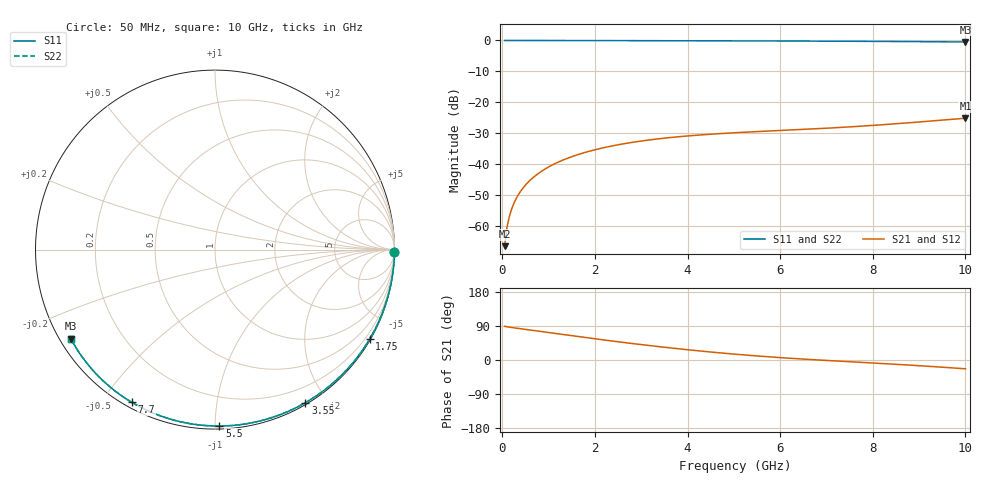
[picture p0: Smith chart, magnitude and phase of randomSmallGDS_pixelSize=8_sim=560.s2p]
! freq	dB(S11)	phase(S11)	dB(S12)	phase(S12)
!  dB(S21)	phase(S21)	dB(S22)	phase(S22)
!S-par simulation data
#  GHz  S  DB  R 50
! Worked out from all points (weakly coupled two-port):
!   200 points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, 50 MHz to 10 GHz, reference 50 ohm
!   highest |S21| = -25.19 dB at 10 GHz (marker M1); lowest = -66.6 dB at 50 MHz (marker M2)
!   lowest |S11| = -0.5 dB at 10 GHz (marker M3), VSWR 35.05, Z = 1.54 - j14.2 ohm
!   |S11| at or under -10 dB: nowhere
!   |S22| runs from -0.5 to 0.0 dB; largest |S21 - S12| = 0
!   S11 on the Smith chart (normalised r, x): 50 MHz: open; 1.75 GHz: 0.03, -3.71; 3.55 GHz: 0.02, -1.75; 5.5 GHz: 0.02, -1.02; 7.7 GHz: 0.02, -0.59; 10 GHz: 0.03, -0.28
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0.05  -0.00 -0.9  -66.65 88.8  -66.65 88.8  -0.00 -0.9
0.1  -0.00 -1.8  -60.65 87.7  -60.65 87.7  -0.00 -1.8
0.15  -0.00 -2.6  -57.16 86.7  -57.16 86.7  -0.00 -2.6
0.2  -0.00 -3.5  -54.69 85.8  -54.69 85.8  -0.00 -3.5
0.25  -0.00 -4.4  -52.78 84.9  -52.78 84.9  -0.00 -4.4
0.35  -0.00 -6.1  -49.90 83.2  -49.90 83.2  -0.00 -6.1
0.5  -0.01 -8.7  -46.86 80.8  -46.86 80.8  -0.01 -8.7
0.7  -0.01 -12.2  -43.99 77.4  -43.99 77.4  -0.01 -12.2
1  -0.02 -17.4  -40.98 72.4  -40.98 72.4  -0.02 -17.4
1.35  -0.03 -23.4  -38.50 66.6  -38.50 66.6  -0.03 -23.4
1.75  -0.04 -30.1  -36.44 60.0  -36.44 60.0  -0.04 -30.1
2.5  -0.06 -42.6  -33.79 48.1  -33.79 48.1  -0.06 -42.6
3.4  -0.08 -57.1  -31.82 35.0  -31.82 35.0  -0.08 -57.1
3.55  -0.08 -59.5  -31.57 32.9  -31.57 32.9  -0.08 -59.5
4.3  -0.10 -71.0  -30.58 23.4  -30.58 23.4  -0.10 -71.0
5.05  -0.13 -82.1  -29.87 15.1  -29.87 15.1  -0.13 -82.1
5.5  -0.15 -88.6  -29.52 10.7  -29.52 10.7  -0.15 -88.6
6.7  -0.21 -105.3  -28.66 0.9  -28.66 0.9  -0.21 -105.3
7.7  -0.27 -118.6  -27.82 -5.9  -27.82 -5.9  -0.27 -118.6
8.35  -0.32 -127.0  -27.15 -10.3  -27.15 -10.3  -0.32 -127.1
9.2  -0.41 -138.0  -26.18 -16.6  -26.18 -16.6  -0.41 -138.0
10  -0.50 -148.3  -25.19 -23.2  -25.19 -23.2  -0.50 -148.3
